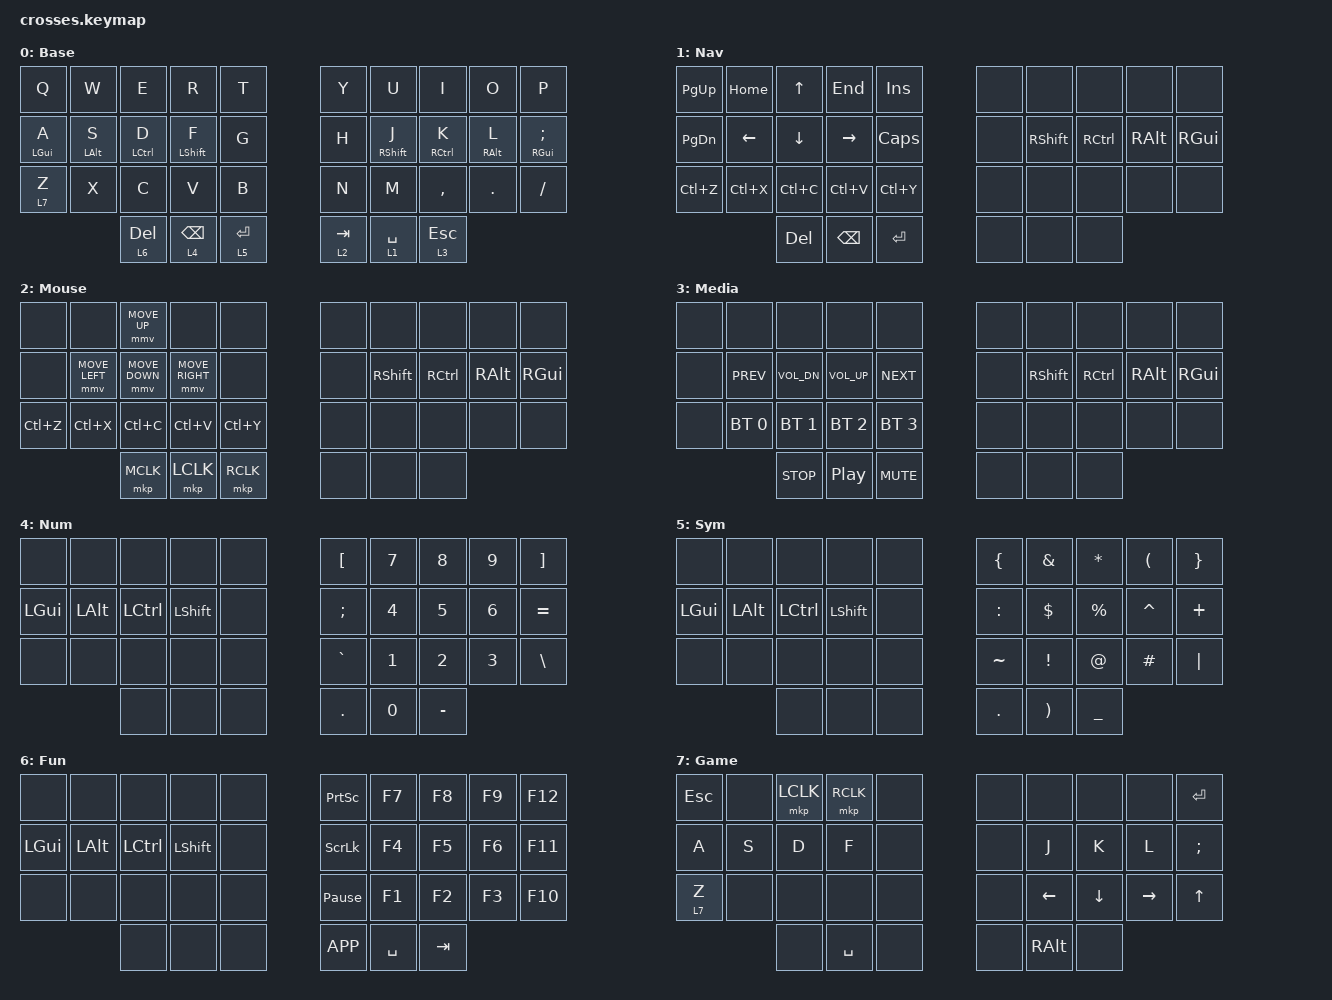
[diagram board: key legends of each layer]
#include <behaviors.dtsi>
#include <dt-bindings/zmk/bt.h>
#include <dt-bindings/zmk/keys.h>
#include <dt-bindings/zmk/pointing.h>

&lt {
    tapping-term-ms = <200>;
    flavor = "balanced";
    quick-tap-ms = <150>;
};

&mt {
    tapping-term-ms = <200>;
    flavor = "balanced";
    quick-tap-ms = <150>;
};

/ {
    behaviors {
        game_tog: game_toggle {
            compatible = "zmk,behavior-hold-tap";
            #binding-cells = <2>;
            tapping-term-ms = <500>;
            flavor = "tap-preferred";
            bindings = <&tog>, <&kp>;
        };
    };

    keymap {
        compatible = "zmk,keymap";

        base_layer {
            display-name = "Base";
            bindings = <
&kp Q             &kp W             &kp E                &kp R                &kp T        &kp Y      &kp U                &kp I                &kp O             &kp P
&mt LEFT_GUI A    &mt LEFT_ALT S    &mt LEFT_CONTROL D   &mt LEFT_SHIFT F     &kp G        &kp H      &mt RIGHT_SHIFT J    &mt RIGHT_CONTROL K  &mt RIGHT_ALT L   &mt RIGHT_GUI SEMICOLON
&game_tog 7 Z     &kp X             &kp C                &kp V                &kp B        &kp N      &kp M                &kp COMMA            &kp DOT           &kp FSLH
                                    &lt 6 DELETE         &lt 4 BACKSPACE      &lt 5 ENTER   &lt 2 TAB  &lt 1 SPACE          &lt 3 ESC
            >;
        };

        nav_layer {
            display-name = "Nav";
            bindings = <
&kp PAGE_UP    &kp HOME     &kp UP_ARROW    &kp END          &kp INSERT    &none  &none             &none              &none          &none
&kp PAGE_DOWN  &kp LEFT_ARROW &kp DOWN_ARROW &kp RIGHT_ARROW  &kp CAPS      &none  &kp RIGHT_SHIFT   &kp RIGHT_CONTROL  &kp RIGHT_ALT   &kp RIGHT_GUI
&kp LC(Z)      &kp LC(X)    &kp LC(C)       &kp LC(V)        &kp LC(Y)     &none  &none             &none              &none          &none
                            &kp DELETE      &kp BACKSPACE    &kp ENTER     &none  &none             &none
            >;
        };

        mouse_layer {
            display-name = "Mouse";
            bindings = <
&none        &none             &mmv MOVE_UP    &none            &none        &none  &none             &none              &none          &none
&none        &mmv MOVE_LEFT    &mmv MOVE_DOWN  &mmv MOVE_RIGHT  &none        &none  &kp RIGHT_SHIFT   &kp RIGHT_CONTROL  &kp RIGHT_ALT   &kp RIGHT_GUI
&kp LC(Z)    &kp LC(X)         &kp LC(C)       &kp LC(V)        &kp LC(Y)    &none  &none             &none              &none          &none
                              &mkp MCLK       &mkp LCLK        &mkp RCLK    &none  &none             &none
            >;
        };

        media_layer {
            display-name = "Media";
            bindings = <
&none       &none        &none         &none        &none       &none  &none             &none              &none          &none
&none       &kp C_PREV   &kp C_VOL_DN  &kp C_VOL_UP &kp C_NEXT  &none  &kp RIGHT_SHIFT   &kp RIGHT_CONTROL  &kp RIGHT_ALT   &kp RIGHT_GUI
&none       &bt BT_SEL 0 &bt BT_SEL 1  &bt BT_SEL 2 &bt BT_SEL 3 &none &none             &none              &none          &none
                         &kp C_STOP    &kp C_PP     &kp C_MUTE  &none  &none             &none
            >;
        };

        num_layer {
            display-name = "Num";
            bindings = <
&none        &none        &none             &none             &none       &kp LBKT       &kp N7   &kp N8   &kp N9      &kp RBKT
&kp LEFT_GUI &kp LEFT_ALT &kp LEFT_CONTROL  &kp LEFT_SHIFT    &none       &kp SEMICOLON  &kp N4   &kp N5   &kp N6      &kp EQUAL
&none        &none        &none             &none             &none       &kp GRAVE      &kp N1   &kp N2   &kp N3      &kp BSLH
                          &none             &none             &none       &kp DOT        &kp N0   &kp MINUS
            >;
        };

        sym_layer {
            display-name = "Sym";
            bindings = <
&none        &none        &none             &none             &none       &kp LBRC   &kp AMPS  &kp ASTRK &kp LPAR  &kp RBRC
&kp LEFT_GUI &kp LEFT_ALT &kp LEFT_CONTROL  &kp LEFT_SHIFT    &none       &kp COLON  &kp DLLR  &kp PRCNT &kp CARET &kp PLUS
&none        &none        &none             &none             &none       &kp TILDE  &kp EXCL  &kp AT    &kp HASH  &kp PIPE
                          &none             &none             &none       &kp DOT    &kp RPAR  &kp UNDER
            >;
        };

        fun_layer {
            display-name = "Fun";
            bindings = <
&none        &none        &none             &none             &none       &kp PSCRN       &kp F7  &kp F8    &kp F9          &kp F12
&kp LEFT_GUI &kp LEFT_ALT &kp LEFT_CONTROL  &kp LEFT_SHIFT    &none       &kp SCROLLLOCK  &kp F4  &kp F5    &kp F6          &kp F11
&none        &none        &none             &none             &none       &kp PAUSE_BREAK &kp F1  &kp F2    &kp F3          &kp F10
                          &none             &none             &none       &kp K_APP       &kp SPACE &kp TAB
            >;
        };

        game_layer {
            display-name = "Game";
            bindings = <
&kp ESC        &none      &mkp LCLK       &mkp RCLK       &none    &none  &none            &none            &none            &kp ENTER
&kp A          &kp S      &kp D           &kp F           &none    &none  &kp J            &kp K            &kp L            &kp SEMICOLON
&game_tog 7 Z  &none      &none           &none           &none    &none  &kp LEFT_ARROW   &kp DOWN_ARROW   &kp RIGHT_ARROW  &kp UP_ARROW
                            &none         &kp SPACE       &none     &none         &kp RIGHT_ALT &none
            >;
        };
    };
};
